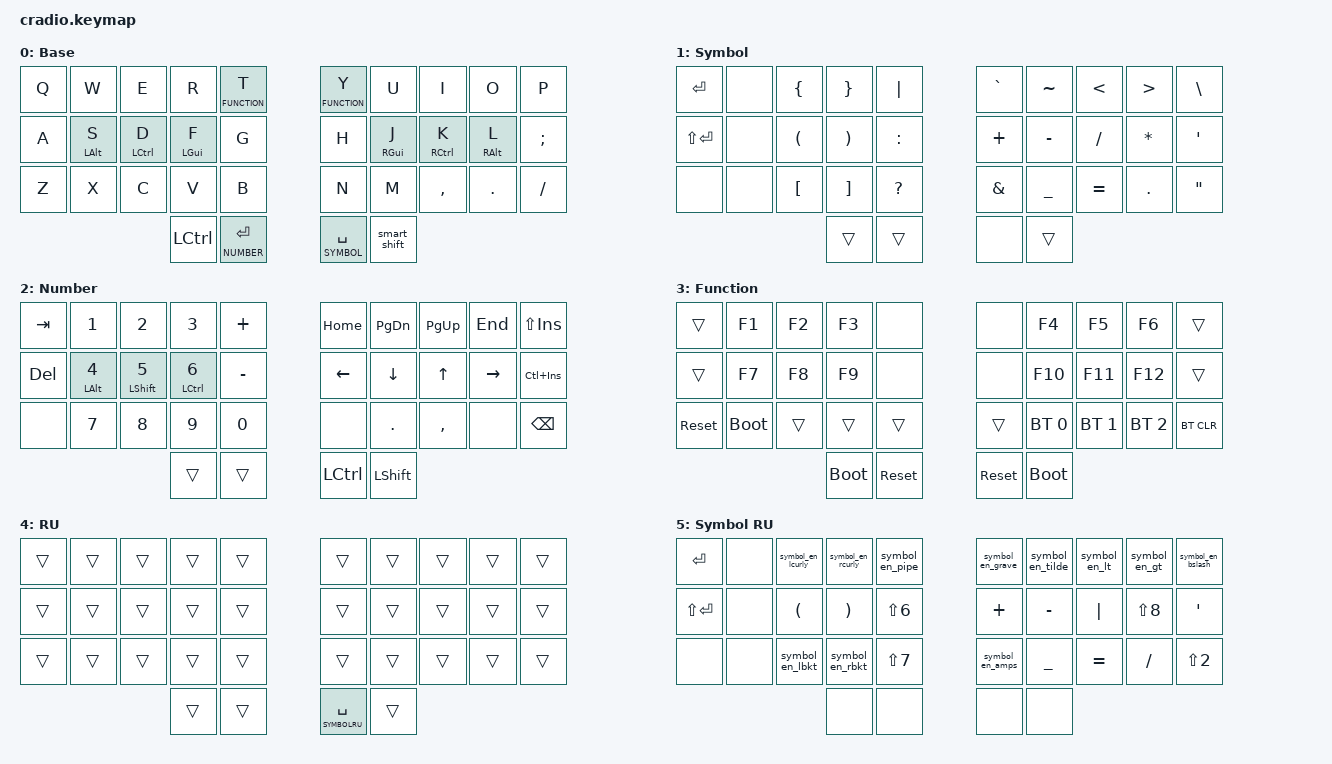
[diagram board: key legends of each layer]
// Версия 3.0 

// BASE LAYER
// Desc: Alfabet (main) layer
//   ╭──────────┬──────────┬──────────┬──────────┬──────────╮   ╭──────────┬──────────┬──────────┬──────────┬──────────╮
//   │  Q       │  W       │  E       │  R       │  T       │   │  Y       │  U       │  I       │  O       │  P       │
//   ├──────────┼──────────┼──────────┼──────────┼──────────┤   ├──────────┼──────────┼──────────┼──────────┼──────────┤
//   │  A       │  S(LALT) │  D(LCTRL)│  F($WIN) │  G       │   │  H       │  J(RGUI) │  K(RCTRL)│  L(RALT) │ ;(RSHIFT)│
//   ├──────────┼──────────┼──────────┼──────────┼──────────┤   ├──────────┼──────────┼──────────┼──────────┼──────────┤
//   │  Z       │  X       │  C       │  V       │  B       │   │  N       │  M       │ ,        │ .        │ /        │
//   ╰──────────┴──────────┴──────────┼──────────┼──────────┤   ├──────────┼──────────┼──────────┴──────────┴──────────╯
//                                    │ LCTRL    │    BSPC  │   │  SPACE   │  LSHIFT  │
//                                    │          │  &NUMBER │   │ SYMBOL   │ CAPSLOCK │
//                                    ╰──────────┴──────────╯   ╰──────────┴──────────╯
//
// =================================================================================================================================
//
// SYMBOL LAYER
// Desc:  All special characters layer
//   ╭──────────┬──────────┬──────────┬──────────┬──────────╮   ╭──────────┬──────────┬──────────┬──────────┬──────────╮
//   │          │          │  {       │  }       │  |       │   │  `       │  ~       │  <       │  >       │  \       │
//   ├──────────┼──────────┼──────────┼──────────┼──────────┤   ├──────────┼──────────┼──────────┼──────────┼──────────┤
//   │LS(ENTER) │          │  (       │  )       │  :       │   │  +       │  -       │  /       │  *       │  '       │
//   ├──────────┼──────────┼──────────┼──────────┼──────────┤   ├──────────┼──────────┼──────────┼──────────┼──────────┤
//   │          │          │  [       │  ]       │  ?       │   │  &       │  _       │  =       │  .       │  "       │
//   ╰──────────┴──────────┴──────────┼──────────┼──────────┤   ├──────────┼──────────┼──────────┴──────────┴──────────╯
//                                    │          │          │   │   (*)    │          │
//                                    ╰──────────┴──────────╯   ╰──────────┴──────────╯
//
// =================================================================================================================================
//
// NUMBER LAYER
// Desc: All numbeers and navigation
//
//   ╭──────────┬──────────┬──────────┬──────────┬──────────╮  ╭──────────┬──────────┬──────────┬──────────┬──────────╮
//   │ TAB      │  1       │  2       │  3       │    +     │  │ HOME     │ PG_DN    │ PG_UP    │ END      │SHIFT+INS │
//   ├──────────┼──────────┼──────────┼──────────┼──────────┤  ├──────────┼──────────┼──────────┼──────────┼──────────┤
//   │ DELETE   │  4       │  5       │  6       │    -     │  │ LEFT     │ DOWN     │  UP      │  RIGHT   │ CTRL+INS │
//   ├──────────┼──────────┼──────────┼──────────┼──────────┤  ├──────────┼──────────┼──────────┼──────────┼──────────┤
//   │          │  7       │  8       │  9       │    0     │  │          │     .    │     ,    │          │   BSPC   │
//   ╰──────────┴──────────┴──────────┼──────────┼──────────┤  ├──────────┼──────────┼──────────┴──────────┴──────────╯
//                                    │          │   (*)    │  │  LCTRL   │  LSHIFT  │
//                                    ╰──────────┴──────────╯  ╰──────────┴──────────╯
//
// =================================================================================================================================
//
// FUNCTION LAYER
// Desc: A layer with function keys and keyboard control keys.
//
//   ╭──────────┬──────────┬──────────┬──────────┬──────────╮  ╭──────────┬──────────┬──────────┬──────────┬──────────╮
//   │          │  F1      │  F2      │  F3      │   (*)    │  │   (*)    │ F4       │ F5       │ F6       │          │
//   ├──────────┼──────────┼──────────┼──────────┼──────────┤  ├──────────┼──────────┼──────────┼──────────┼──────────┤
//   │          │  F7      │  F8      │  F9      │          │  │          │ F10      │  F11     │  F12     │          │
//   ├──────────┼──────────┼──────────┼──────────┼──────────┤  ├──────────┼──────────┼──────────┼──────────┼──────────┤
//   │ RESET    │BOOTLOADER│          │          │          │  │          │ PROFILE0 │ PROFILE1 │ PROFILE2 │ CLEAR BT │
//   ╰──────────┴──────────┴──────────┼──────────┼──────────┤  ├──────────┼──────────┼──────────┴──────────┴──────────╯
//                                    │          │          │  │ RESET    │BOOTLOADER│
//                                    ╰──────────┴──────────╯  ╰──────────┴──────────╯
//
// =================================================================================================================================
//
// WINDOWS LAYER
// Desc: A layer with win macros
//   ╭──────────┬──────────┬──────────┬──────────┬──────────╮  ╭──────────┬──────────┬──────────┬──────────┬──────────╮
//   │  Win+L   │          │ Explorer │ Win+R    │          │  │          │          │ Settings │          │ SCR LOCK │
//   ├──────────┼──────────┼──────────┼──────────┼──────────┤  ├──────────┼──────────┼──────────┼──────────┼──────────┤
//   │ '"+p'    │  '"+y'   │          │   (*)    │          │  │W+Ctrl+<- │W+Shift+<-│W+Shift+->│ W+Ctrl+->│ Emogie   │
//   ├──────────┼──────────┼──────────┼──────────┼──────────┤  ├──────────┼──────────┼──────────┼──────────┼──────────┤
//   │ PRT SCR  │          │          │          │          │  │ Win+LEFT │ Win+Down │ Win+Up   │ Win+RIGHT│          │
//   ╰──────────┴──────────┴──────────┼──────────┼──────────┤  ├──────────┼──────────┼──────────┴──────────┴──────────╯
//                                    │          │          │  │  SPACE   │          │
//                                    ╰──────────┴──────────╯  ╰──────────┴──────────╯

#include <behaviors.dtsi>
#include <dt-bindings/zmk/keys.h>
#include <dt-bindings/zmk/bt.h>

// Слои
#define BASE      0 // Основной слой с английскими буквами
#define SYMBOL    1 // Слой со спецсимволами
#define NUMBER    2 // Слой с цифрами и навигацией
#define FUNCTION  3 // Слой с функциональными клавишами
#define WINDOWS   4 // Слой с различными сочетаниями с кнопкой Windows
#define RU        5 // Основной слой с русскими буквами
#define SYMBOLRU  6 // Слой со спецсимволами для ru mod

// Key position definitions for Ferris Sweep (34 keys)
#define KEYS_L 0 1 2 3 4 10 11 12 13 14 20 21 22 23 24
#define KEYS_R 5 6 7 8 9 15 16 17 18 19 25 26 27 28 29
#define THUMBS 30 31 32 33

&sk {
  release-after-ms = <1000>;
  quick-release;
};

&sl {
  ignore-modifiers;
};

&caps_word {
  /delete-property/ ignore-modifiers;
};

/ {
  behaviors {
    // Зажатие - &kp, нажатие - &sl
    sl_ctrl: sticky_layer_ctrl {
      compatible = "zmk,behavior-hold-tap";
      #binding-cells = <2>;
      flavor = "hold-preferred";
      tapping-term-ms = <200>;
      bindings = <&kp>, <&sl>;
    };

    // Hot-tap
    ht: hold_tap {
      compatible = "zmk,behavior-hold-tap";
      #binding-cells = <2>;
      flavor = "tap-preferred";
      tapping-term-ms = <220>;
      quick-tap-ms = <150>;
      require-prior-idle-ms = <100>;
      bindings = <&kp>, <&kp>;
    };

    // Left hand home row mods
    hml: hml {
      compatible = "zmk,behavior-hold-tap";
      #binding-cells = <2>;
      flavor = "balanced";
      tapping-term-ms = <280>;
      quick-tap-ms = <175>;
      require-prior-idle-ms = <150>;
      bindings = <&kp>, <&kp>;
      hold-trigger-key-positions = <KEYS_R THUMBS>;
      hold-trigger-on-release;
    };

    // Right hand home row mods
    hmr: hmr {
      compatible = "zmk,behavior-hold-tap";
      #binding-cells = <2>;
      flavor = "balanced";
      tapping-term-ms = <280>;
      quick-tap-ms = <175>;
      require-prior-idle-ms = <150>;
      bindings = <&kp>, <&kp>;
      hold-trigger-key-positions = <KEYS_L THUMBS>;
      hold-trigger-on-release;
    };

    // Left hand home row mods for number layer (no idle requirement)
    hml_s: hml_s {
      compatible = "zmk,behavior-hold-tap";
      #binding-cells = <2>;
      flavor = "balanced";
      tapping-term-ms = <280>;
      quick-tap-ms = <175>;
      require-prior-idle-ms = <0>;
      bindings = <&kp>, <&kp>;
      hold-trigger-key-positions = <KEYS_R THUMBS>;
      hold-trigger-on-release;
    };

    // Right hand home row mods for number layer (no idle requirement)
    hmr_s: hmr_s {
      compatible = "zmk,behavior-hold-tap";
      #binding-cells = <2>;
      flavor = "balanced";
      tapping-term-ms = <280>;
      quick-tap-ms = <175>;
      require-prior-idle-ms = <0>;
      bindings = <&kp>, <&kp>;
      hold-trigger-key-positions = <KEYS_L THUMBS>;
      hold-trigger-on-release;
    };

    // Smart shift: tap for sticky shift, double tap for caps word
    smart_shift: smart_shift {
      compatible = "zmk,behavior-tap-dance";
      #binding-cells = <0>;
      tapping-term-ms = <250>;
      bindings = <&sk LSHIFT>, <&caps_word>;
    };

    // Windows layer kye
    lt_win: lt_win {
      compatible = "zmk,behavior-hold-tap";
      #binding-cells = <2>;
      flavor = "hold-preferred";
      tapping-term-ms = <500>;
      bindings = <&mo>, <&kp>;
    };
  };

  macros {
    // Copy in nvim
    vim_copy: vim_copy {
      compatible = "zmk,behavior-macro";
      #binding-cells = <0>;
      bindings
      = <&kp DQT>
      , <&kp PLUS>
      , <&kp Y>
      ;
    };

    // Past in nvim
    vim_paste: vim_paste {
      compatible = "zmk,behavior-macro";
      #binding-cells = <0>;
      bindings
      = <&kp DQT>
      , <&kp PLUS>
      , <&kp P>
      ;
    };

    // Переключение на русскую раскладку
    to_ru: to_ru {
      compatible = "zmk,behavior-macro";
      #binding-cells = <0>;
      wait-ms = <10>;
      tap-ms = <10>;
      bindings
      = <&kp LC(LS(N2))>
      , <&to RU>
      ;
    };

    // Переключение на английскую раскладку
    to_en: to_en {
      compatible = "zmk,behavior-macro";
      #binding-cells = <0>;
      wait-ms = <10>;
      tap-ms = <10>;
      bindings
      = <&kp LC(LS(N1))>
      , <&to BASE>
      ;
    };

    symbol_en_lcurly: symbol_en_lcurly {
      compatible = "zmk,behavior-macro";
      #binding-cells = <0>;
      wait-ms = <10>;
      tap-ms = <10>;
      bindings
      = <&to_en>
      , <&kp LBRC>
      , <&to_ru>
      ;
    };

    symbol_en_rcurly: symbol_en_rcurly {
      compatible = "zmk,behavior-macro";
      #binding-cells = <0>;
      wait-ms = <10>;
      tap-ms = <10>;
      bindings
      = <&to_en>
      , <&kp RBRC>
      , <&to_ru>
      ;
    };

    symbol_en_pipe: symbol_en_pipe {
      compatible = "zmk,behavior-macro";
      #binding-cells = <0>;
      wait-ms = <10>;
      tap-ms = <10>;
      bindings
      = <&to_en>
      , <&kp PIPE>
      , <&to_ru>
      ;
    };

    symbol_en_grave: symbol_en_grave {
      compatible = "zmk,behavior-macro";
      #binding-cells = <0>;
      wait-ms = <10>;
      tap-ms = <10>;
      bindings
      = <&to_en>
      , <&kp GRAVE>
      , <&to_ru>
      ;
    };

    symbol_en_tilde: symbol_en_tilde {
      compatible = "zmk,behavior-macro";
      #binding-cells = <0>;
      wait-ms = <10>;
      tap-ms = <10>;
      bindings
      = <&to_en>
      , <&kp LS(GRAVE)>
      , <&to_ru>
      ;
    };

    symbol_en_lt: symbol_en_lt {
      compatible = "zmk,behavior-macro";
      #binding-cells = <0>;
      wait-ms = <10>;
      tap-ms = <10>;
      bindings
      = <&to_en>
      , <&kp LT>
      , <&to_ru>
      ;
    };

    symbol_en_gt: symbol_en_gt {
      compatible = "zmk,behavior-macro";
      #binding-cells = <0>;
      wait-ms = <10>;
      tap-ms = <10>;
      bindings
      = <&to_en>
      , <&kp GT>
      , <&to_ru>
      ;
    };

    symbol_en_bslash: symbol_en_bslash {
      compatible = "zmk,behavior-macro";
      #binding-cells = <0>;
      wait-ms = <10>;
      tap-ms = <10>;
      bindings
      = <&to_en>
      , <&kp BSLH>
      , <&to_ru>
      ;
    };

    symbol_en_lbkt: symbol_en_lbkt {
      compatible = "zmk,behavior-macro";
      #binding-cells = <0>;
      wait-ms = <10>;
      tap-ms = <10>;
      bindings
      = <&to_en>
      , <&kp LBKT>
      , <&to_ru>
      ;
    };

    symbol_en_rbkt: symbol_en_rbkt {
      compatible = "zmk,behavior-macro";
      #binding-cells = <0>;
      wait-ms = <10>;
      tap-ms = <10>;
      bindings
      = <&to_en>
      , <&kp RBKT>
      , <&to_ru>
      ;
    };

    symbol_en_amps: symbol_en_amps {
      compatible = "zmk,behavior-macro";
      #binding-cells = <0>;
      wait-ms = <10>;
      tap-ms = <10>;
      bindings
      = <&to_en>
      , <&kp AMPS>
      , <&to_ru>
      ;
    };

    symbol_en_sqt: symbol_en_sqt {
      compatible = "zmk,behavior-macro";
      #binding-cells = <0>;
      wait-ms = <10>;
      tap-ms = <10>;
      bindings
      = <&to_en>
      , <&kp SQT>
      , <&to_ru>
      ;
    };
  };

  combos {
    compatible = "zmk,combos";
    timeout-ms = <50>;
    require-prior-idle-ms = <100>;

    // ESC on W+E
    combo_esc {
      key-positions = <1 2>;
      layers = <BASE RU>;
      bindings = <&kp ESCAPE>;
    };

    // TAB on E+R
    combo_tab {
      key-positions = <2 3>;
      layers = <BASE RU>;
      bindings = <&kp TAB>;
    };

    // CTRL+Backspace on S+D
    combo_ctrl_bspc {
      key-positions = <11 12>;
      layers = <BASE RU>;
      bindings = <&kp LC(BSPC)>;
    };

    // Enter on F+D
    /* combo_enter { */
    /*   key-positions = <12 13>; */
    /*   layers = <BASE RU>; */
    /*   bindings = <&kp RET>; */
    /* }; */

    // "{" on U+I
    combo_left_curly_bracket {
      key-positions = <6 7>;
      layers = <BASE RU>;
      bindings = <&kp LBRC>;
    };

    // "}" on I+O
    combo_right_curly_bracket {
      key-positions = <7 8>;
      layers = <BASE RU>;
      bindings = <&kp RBRC>;
    };

    // "(" on J+K
    combo_left_bracket {
      key-positions = <16 17>;
      layers = <BASE RU>;
      bindings = <&kp LPAR>;
    };

    // ")" on K+L
    combo_right_bracket {
      key-positions = <17 18>;
      layers = <BASE RU>;
      bindings = <&kp RPAR>;
    };

    // "[" on M+,
    combo_left_square_bracket {
      key-positions = <26 27>;
      layers = <BASE RU>;
      bindings = <&kp LBKT>;
    };

    // "]" on ,+.
    combo_right_square_bracket {
      key-positions = <27 28>;
      layers = <BASE RU>;
      bindings = <&kp RBKT>;
    };

    // Переключить раскладку на RU: X+C 
    combo_to_ru {
      key-positions = <21 22>;
      layers = <BASE RU>;
      require-prior-idle-ms = <0>;
      bindings = <&to_ru>;
    };

    // Переключить раскладку на EN: C+V
    combo_to_en {
      key-positions = <22 23>;
      layers = <BASE RU>;
      require-prior-idle-ms = <0>;
      bindings = <&to_en>;
    };
  };

  keymap {
    compatible = "zmk,keymap";

    base_layer {
      display-name = "Base";
      bindings = <
        &kp Q   &kp W         &kp E          &kp R              &lt FUNCTION T   &lt FUNCTION Y        &kp U          &kp I           &kp O         &kp P
        &kp A   &hml LALT S   &hml LCTRL D   &hml LGUI F        &kp G            &kp H        &hmr RGUI J    &hmr RCTRL  K   &hmr RALT L      &kp SEMI
        &kp Z   &kp X         &kp C          &kp V              &kp B            &kp N        &kp M          &kp COMMA       &kp DOT       &kp FSLH
        &kp LCTRL    &lt NUMBER RET          &lt SYMBOL SPACE     &smart_shift
      >;
    };

    symbol_layer {
      display-name = "Symbol";
      bindings = <

        &kp RET      &none     &kp LBRC   &kp RBRC   &kp PIPE       &kp GRAVE  &kp TILDE  &kp LT     &kp GT     &kp BSLH
        &kp LS(RET)  &none     &kp LPAR   &kp RPAR   &kp COLON      &kp PLUS   &kp MINUS  &kp FSLH   &kp ASTRK  &kp SQT
        &none        &none     &kp LBKT   &kp RBKT   &kp QMARK      &kp AMPS   &kp UNDER  &kp EQUAL  &kp DOT    &kp DQT
        &trans       &trans    &none    &trans
      >;
    };

    number_layer {
      display-name = "Number";
      bindings = <
        &kp TAB     &kp N1            &kp N2            &kp N3           &kp PLUS            &kp HOME         &kp PG_DN         &kp PG_UP         &kp END             &kp LS(INS)
        &kp DEL     &hml_s LALT N4    &hml_s LSHIFT N5  &hml_s LCTRL N6  &kp MINUS           &kp LEFT         &kp DOWN          &kp UP            &kp RIGHT           &kp LC(INS)
        &none       &kp N7            &kp N8            &kp N9           &kp N0              &none            &kp DOT           &kp COMMA         &none               &kp BSPC
        &trans      &trans            &kp LCTRL         &kp LSHIFT
      >;
    };

    function_layer {
      display-name = "Function";
      bindings = <
        &trans      &kp F1       &kp F2     &kp F3     &none            &none       &kp F4        &kp F5        &kp F6        &trans
        &trans      &kp F7       &kp F8     &kp F9     &none            &none       &kp F10       &kp F11       &kp F12       &trans
        &sys_reset  &bootloader  &trans     &trans     &trans           &trans      &bt BT_SEL 0  &bt BT_SEL 1  &bt BT_SEL 2  &bt BT_CLR
        &bootloader      &sys_reset       &sys_reset       &bootloader
      >;
    };

    /* windows_layer { */
    /*   display-name = "Winodws"; */
    /*   bindings = < */
    /*     &kp LG(L)      &none       &kp LG(E)  &kp LG(R)  &none     &none              &none              &kp LG(I)           &none               &kp LG(L) */
    /*     &vim_paste     &vim_copy   &none      &none      &none     &kp LG(LC(LEFT))   &kp LG(LS(LEFT))   &kp LG(LS(RIGHT))   &kp LG(LC(RIGHT))   &kp LG(DOT) */
    /*     &kp LG(LS(S))  &none       &none      &none      &none     &kp LG(LEFT)       &kp LG(DOWN)       &kp LG(UP)          &kp LG(RIGHT)       &none */
    /*     &none      &none       &kp LG(SPACE)     &none */
    /*   >; */
    /* }; */

    ru_layer {
      display-name = "RU";
      bindings = <
        &trans  &trans  &trans  &trans  &trans      &trans  &trans  &trans  &trans  &trans
        &trans  &trans  &trans  &trans  &trans      &trans  &trans  &trans  &trans  &trans
        &trans  &trans  &trans  &trans  &trans      &trans  &trans  &trans  &trans  &trans
        &trans  &trans  &lt SYMBOLRU SPACE   &trans
      >;
    };

    symbol_ru_layer {
      display-name = "Symbol RU";
      bindings = <
        &kp RET         &none  &symbol_en_lcurly  &symbol_en_rcurly  &symbol_en_pipe  &symbol_en_grave  &symbol_en_tilde  &symbol_en_lt  &symbol_en_gt     &symbol_en_bslash
        &kp LS(RET)     &none  &kp LPAR           &kp RPAR           &kp LS(N6)       &kp PLUS          &kp MINUS         &kp PIPE       &kp LS(N8)        &kp SQT
        &none           &none  &symbol_en_lbkt    &symbol_en_rbkt    &kp LS(N7)       &symbol_en_amps   &kp UNDER         &kp EQUAL      &kp FSLH          &kp LS(N2)
        &none           &none  &none              &none
      >;
    };
  };
};
